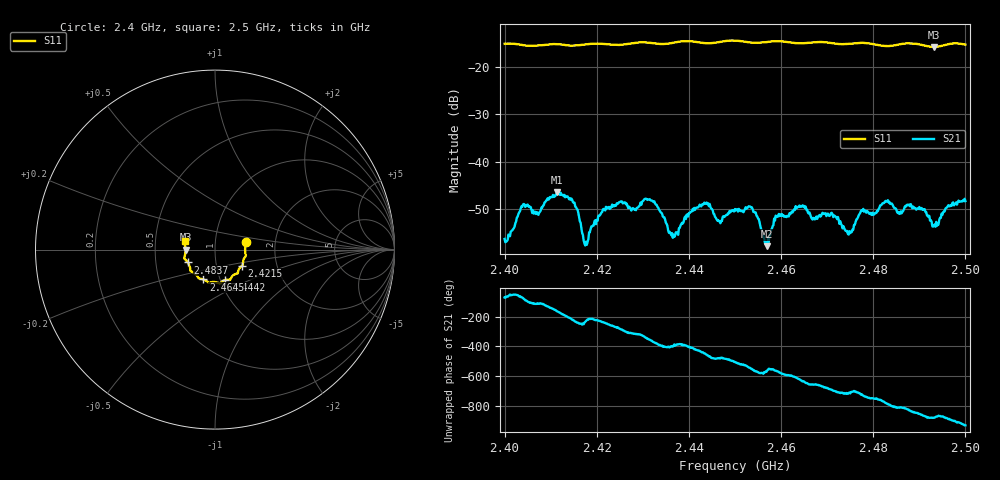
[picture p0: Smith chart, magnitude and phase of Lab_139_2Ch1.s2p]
# Hz S RI R 50
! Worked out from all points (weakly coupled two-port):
!   601 points, 2.4 GHz to 2.5 GHz, reference 50 ohm
!   highest |S21| = -46.46 dB at 2.4113 GHz (marker M1); lowest = -57.8 dB at 2.457 GHz (marker M2)
!   lowest |S11| = -15.7 dB at 2.4932 GHz (marker M3), VSWR 1.39, Z = 36 - j0.0487 ohm
!   |S11| at or under -10 dB: start of sweep to end of sweep
!   S12 and S22 are empty: the file has one direction only
!   S11 on the Smith chart (normalised r, x): 2.4 GHz: 1.41, +0.12; 2.4215 GHz: 1.33, -0.25; 2.4442 GHz: 1.05, -0.37; 2.4645 GHz: 0.83, -0.29; 2.4837 GHz: 0.73, -0.11; 2.5 GHz: 0.71, +0.07
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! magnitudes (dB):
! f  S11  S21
! 2.4 GHz  -15.1  -56.3
! 2.4038 GHz  -15.3  -49.5
! 2.4113 GHz  -15.1  -46.5
! 2.4147 GHz  -15.5  -48.0
! 2.4167 GHz  -15.3  -54.1
! 2.4177 GHz  -15.2  -56.9
! 2.4215 GHz  -15.1  -49.9
! 2.4333 GHz  -15.1  -49.7
! 2.4365 GHz  -14.9  -56.0
! 2.4442 GHz  -15.0  -48.8
! 2.4467 GHz  -14.7  -52.6
! 2.45 GHz  -14.4  -50.0
! 2.4535 GHz  -14.8  -49.6
! 2.457 GHz  -14.7  -57.8
! 2.459 GHz  -14.5  -51.6
! 2.4645 GHz  -15.0  -49.5
! 2.4667 GHz  -14.8  -52.0
! 2.4748 GHz  -15.1  -54.6
! 2.4833 GHz  -15.6  -48.6
! 2.4837 GHz  -15.5  -48.9
! 2.4932 GHz  -15.7  -53.5
! 2.5 GHz  -15.3  -48.3
